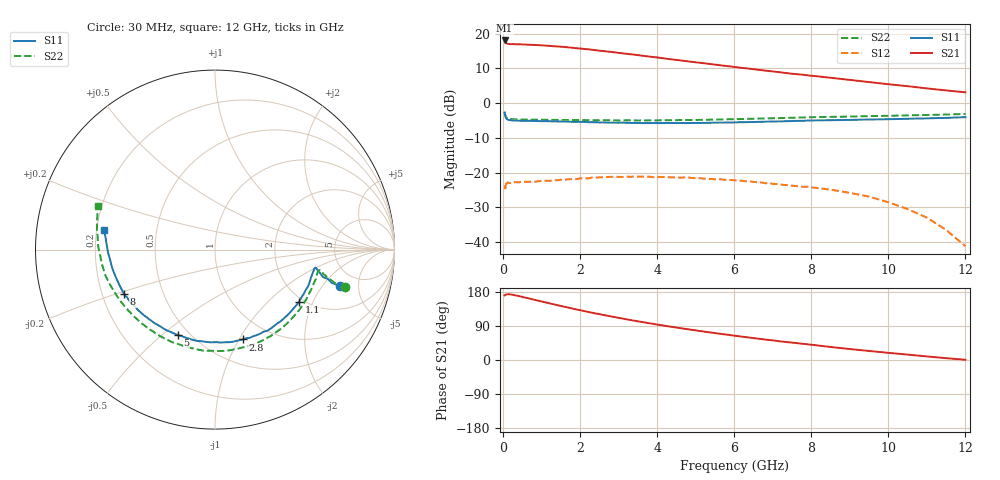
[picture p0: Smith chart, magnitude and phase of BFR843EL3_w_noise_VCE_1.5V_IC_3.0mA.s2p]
! Infineon Technologies  Discrete & RF Semiconductors
! BFR843EL3
! VCE =  1.5 V,  IC =  3.0 mA
! Common Emitter S-Parameters:  Aug 2013
# GHz  S  MA  R  50
!  f  S11  S21  S12  S22
! GHz  MAG  ANG  MAG  ANG  MAG  ANG  MAG  ANG
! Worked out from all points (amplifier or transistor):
!   103 points, 30 MHz to 12 GHz, reference 50 ohm
!   highest |S21| = 18.1 dB at 30 MHz (marker M1)
!   |S21| within 3 dB of that: start of sweep to 2.546 GHz
!   unconditionally stable (mu >= 1): 179.7 MHz to 376.3 MHz; 7.019 GHz to end of sweep
!   at 400 MHz: K = 1.00, MSG = 19.9 dB, |S12| = -22.8 dB
!   at 3.7 GHz: K = 0.74, MSG = 17.4 dB, |S12| = -21.2 dB
!   at 12 GHz: K = 11.98, MAG = 8.4 dB, |S12| = -41.2 dB
!   lowest NFmin = 1.00 dB at 450 MHz
!   S11 on the Smith chart (normalised r, x): 30 MHz: 3.55, -3.09; 1.1 GHz: 1.89, -1.59; 2.8 GHz: 0.75, -1.04; 5 GHz: 0.43, -0.57; 8 GHz: 0.29, -0.21; 12 GHz: 0.23, +0.08
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0.03  0.7284 -16.3  8.012 170.5  0.0587 34.3  0.7546 -16.2
0.04  0.6765 -15.9  7.725 171.0  0.0628 30.2  0.7006 -15.8
0.06  0.6208 -14.3  7.414 172.1  0.0715 22.4  0.6461 -14.2
0.08  0.598 -12.4  7.262 173.1  0.0702 16.6  0.62 -12.8
0.15  0.5714 -10.2  7.116 173.5  0.0704 9.6  0.5937 -11.1
0.2  0.5674 -10.3  7.086 172.8  0.0705 6.9  0.5906 -11.5
0.6  0.5575 -18.8  6.977 163.9  0.0737 4.0  0.5806 -22.4
1.1  0.5517 -31.9  6.746 151.9  0.0765 2.9  0.5768 -38.3
1.5  0.5441 -42.4  6.517 142.4  0.079 2.4  0.5736 -50.7
1.8  0.5385 -49.7  6.279 135.6  0.0803 0.7  0.5709 -59.6
2.1  0.5378 -57.1  6.043 129.1  0.0828 -0.1  0.5704 -68.2
2.4  0.5298 -64.2  5.803 122.7  0.0847 -1.7  0.5664 -76.1
2.8  0.5236 -72.9  5.484 114.8  0.0868 -4.6  0.5664 -86.0
3.3  0.5195 -83.4  5.069 105.4  0.0868 -8.5  0.5662 -97.4
4.1  0.5161 -98.3  4.474 91.9  0.0865 -14.6  0.5669 -113.3
5  0.5194 -113.4  3.876 78.1  0.083 -21.1  0.5739 -128.7
6.1  0.5308 -129.6  3.273 62.9  0.0766 -29.2  0.5902 -144.7
6.9  0.5432 -140.4  2.91 52.8  0.0705 -34.6  0.6044 -154.7
8  0.5639 -153.8  2.487 40.3  0.0613 -41.0  0.6278 -167.2
8.5  0.568 -159.6  2.325 34.3  0.0567 -44.8  0.6351 -172.6
10.5  0.5961 -178.4  1.758 14.3  0.0298 -57.2  0.6678 170.1
12  0.6293 169.8  1.434 0.7  0.0087 -27.5  0.698 159.6
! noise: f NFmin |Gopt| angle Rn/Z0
0.45  1  0.3  5  0.24
0.9  1.01  0.29  19  0.22
1.5  1.04  0.3  32  0.21
1.9  1.06  0.3  37  0.2
2.4  1.09  0.31  47  0.2
3.5  1.15  0.3  69  0.17
5.5  1.27  0.33  105  0.13
8  1.41  0.4  147  0.09
10  1.52  0.45  198  0.06
